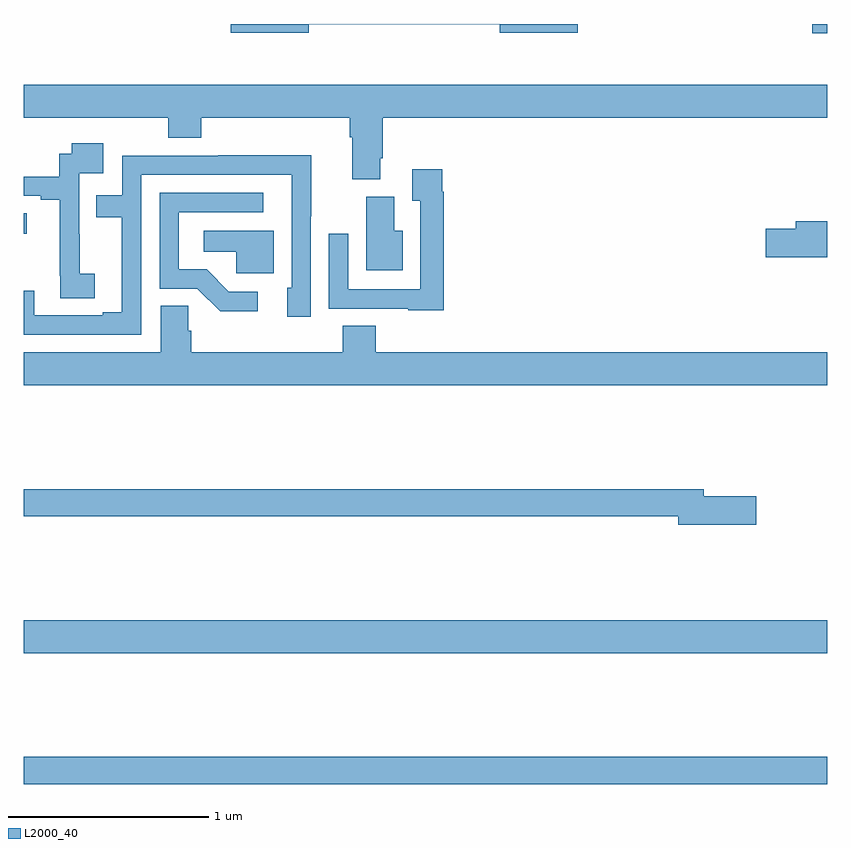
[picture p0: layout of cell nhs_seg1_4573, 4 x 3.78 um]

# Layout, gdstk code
import gdstk
lib = gdstk.Library(unit=1e-6, precision=1e-09)
def R(c, l, rs):  # rectangles x0, y0, x1, y1
    for r in rs: c.add(gdstk.rectangle(r[:2], r[2:], *l))
def P(c, l, *ps):  # polygons
    for p in ps: c.add(gdstk.Polygon(p, *l))
L2000_40 = (2000, 40)

nhs_seg1_4573 = lib.new_cell('nhs_seg1_4573')
R(nhs_seg1_4573, L2000_40, [(359,548.416,363,548.552), (359,549.068,363,549.232), (359,551.155,359.014,551.258), (362.925,552.153,363,552.199)])
P(nhs_seg1_4573, L2000_40, [(360.418,552.198),(361.37,552.198),(361.37,552.155),(361.759,552.155),(361.759,552.199),(360.03,552.199),(360.03,552.155),(360.418,552.155)],
  [(360.775,551.53),(360.788,551.53),(360.788,551.732),(363,551.732),(363,551.896),(359,551.896),(359,551.732),(359.72,551.732),(359.72,551.633),(359.885,551.633),(359.885,551.732),(360.623,551.732),(360.623,551.636),(360.635,551.636),(360.635,551.425),(360.775,551.425)],
  [(359.353,550.956),(359.279,550.956),(359.279,551.153),(359.277,551.153),(359.277,551.457),(359.395,551.457),(359.395,551.605),(359.239,551.605),(359.239,551.553),(359.176,551.553),(359.176,551.439),(359,551.439),(359,551.343),(359.084,551.343),(359.084,551.323),(359.18,551.323),(359.18,550.945),(359.182,550.945),(359.182,550.834),(359.353,550.834)],
  [(359.586,551.448),(360.333,551.448),(360.333,550.887),(360.311,550.887),(360.311,550.743),(360.429,550.743),(360.429,551.242),(360.431,551.242),(360.431,551.546),(359.968,551.546),(359.968,551.544),(359.49,551.544),(359.49,551.346),(359.362,551.346),(359.362,551.238),(359.489,551.238),(359.489,550.764),(359.393,550.764),(359.393,550.749),(359.052,550.749),(359.052,550.872),(359,550.872),(359,550.653),(359.586,550.653)],
  [(361.091,551.363),(361.084,551.363),(361.084,551.476),(360.935,551.476),(360.935,551.32),(360.975,551.32),(360.975,550.878),(360.615,550.878),(360.615,551.155),(360.519,551.155),(360.519,550.782),(360.915,550.782),(360.915,550.775),(361.091,550.775)],
  [(360.166,550.866),(360.021,550.866),(359.91,550.977),(359.772,550.977),(359.772,551.262),(360.193,551.262),(360.193,551.358),(359.676,551.358),(359.676,550.881),(359.865,550.881),(359.978,550.769),(360.166,550.769)],
  [(360.886,551.17),(360.844,551.17),(360.844,551.34),(360.704,551.34),(360.704,550.973),(360.886,550.973)],
  [(363,551.216),(362.843,551.216),(362.843,551.18),(362.694,551.18),(362.694,551.038),(363,551.038)],
  [(360.244,551.17),(359.895,551.17),(359.895,551.066),(360.057,551.066),(360.057,550.959),(360.244,550.959)],
  [(363,550.564),(360.752,550.564),(360.752,550.697),(360.587,550.697),(360.587,550.564),(359.834,550.564),(359.834,550.673),(359.82,550.673),(359.82,550.796),(359.681,550.796),(359.681,550.564),(359,550.564),(359,550.4),(363,550.4)],
  [(362.647,549.848),(362.386,549.848),(362.386,549.884),(359,549.884),(359,549.748),(362.258,549.748),(362.258,549.706),(362.647,549.706)])

lib.write_gds('nhs_seg1_4573.gds')
